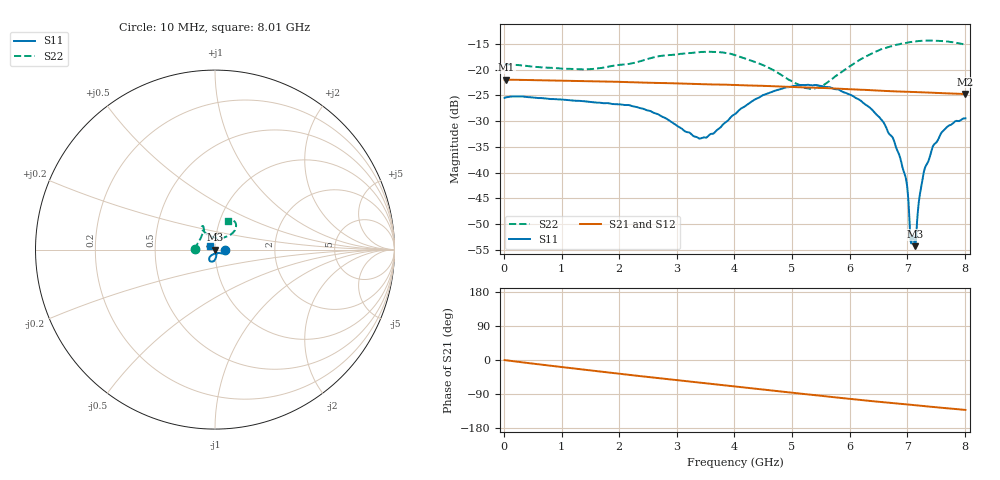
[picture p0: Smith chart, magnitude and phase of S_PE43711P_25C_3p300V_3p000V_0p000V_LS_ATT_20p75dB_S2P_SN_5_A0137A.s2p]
! Device ID: PE43711P
! File Path: z:\PE43711P\CHAR_NOM_04282014\AMB\3p300\LS_ATT_20p75dB\PE43711P_AMB_3p300V_3p000V_0p000V_LS_ATT_20p75dB_S2P_SN_5_A0137A.s2p
! Serial: 5
! Lot: A0137A
! Temp: 25C
! VDD: 3.300
! VSS: 0.000
! Control_Hi: 3.000
! Control_Lo: 0.000
! Attenuation Step: 20.75dB
! Port 1: RF1
! Port 2: RF2
! ThroughPath:1-2
! IDD: 0.0001271646
! ISS: -1.37e-007
#  Hz  S  RI  R  50
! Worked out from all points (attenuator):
!   801 points, 10 MHz to 8.01 GHz, reference 50 ohm
!   highest |S21| = -21.97 dB at 40 MHz (marker M1); lowest = -24.8 dB at 8.01 GHz (marker M2)
!   lowest |S11| = -54.3 dB at 7.14 GHz (marker M3), VSWR 1.00, Z = 49.8 - j0.00375 ohm
!   |S11| at or under -10 dB: start of sweep to end of sweep
!   |S22| runs from -23.8 to -14.4 dB; largest |S21 - S12| = 0.00016
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1e7  0.0532 0.000172  0.0797 -0.000362  0.0798 -0.000391  -0.1133 0.000947
4e7  0.0538 -5.08e-05  0.0797 -0.00111  0.0798 -0.00111  -0.1125 0.0025
1.35e9  0.0458 -0.0187  0.0703 -0.0324  0.0704 -0.0324  -0.0863 0.0514
2.68e9  0.0309 -0.0198  0.0499 -0.0549  0.0499 -0.0549  -0.0626 0.1191
3.41e9  0.0055 -0.0208  0.0361 -0.0625  0.0361 -0.0625  -0.0678 0.1315
4.01e9  -0.0198 -0.0313  0.0242 -0.0666  0.0242 -0.0666  -0.0743 0.1166
4.67e9  -0.0322 -0.0522  0.0108 -0.0681  0.0107 -0.0681  -0.0473 0.0873
5.35e9  -0.0221 -0.0667  -0.00225 -0.0668  -0.00224 -0.0668  0.00937 0.0638
6.17e9  0.00285 -0.0509  -0.0167 -0.0616  -0.0167 -0.0617  0.0899 0.0852
6.53e9  0.00754 -0.0329  -0.022 -0.0584  -0.022 -0.0585  0.1112 0.1093
6.68e9  0.00655 -0.0231  -0.0239 -0.0571  -0.0239 -0.0571  0.1149 0.1198
6.78e9  0.00637 -0.0186  -0.0252 -0.0561  -0.0252 -0.0562  0.117 0.1265
6.95e9  0.00261 -0.00958  -0.0273 -0.0545  -0.0273 -0.0546  0.1168 0.137
6.99e9  0.00283 -0.00749  -0.0278 -0.0542  -0.0277 -0.0542  0.1172 0.139
7.04e9  0.0012 -0.00318  -0.0284 -0.0537  -0.0284 -0.0537  0.1167 0.143
7.08e9  -0.0013 -0.00176  -0.0289 -0.0533  -0.0289 -0.0534  0.1155 0.1451
7.11e9  -0.00196 -0.00143  -0.0293 -0.0531  -0.0293 -0.0531  0.115 0.1464
7.14e9  -0.00194 -3.77e-05  -0.0296 -0.0528  -0.0296 -0.0527  0.1147 0.1481
7.27e9  -0.00594 0.00674  -0.0312 -0.0515  -0.0312 -0.0515  0.1108 0.1551
7.44e9  -0.0115 0.0134  -0.0331 -0.0496  -0.0331 -0.0496  0.1022 0.1614
7.68e9  -0.0195 0.0193  -0.0356 -0.0468  -0.0356 -0.0469  0.0889 0.1654
8.01e9  -0.0258 0.0216  -0.0385 -0.0432  -0.0386 -0.0431  0.0721 0.1585
